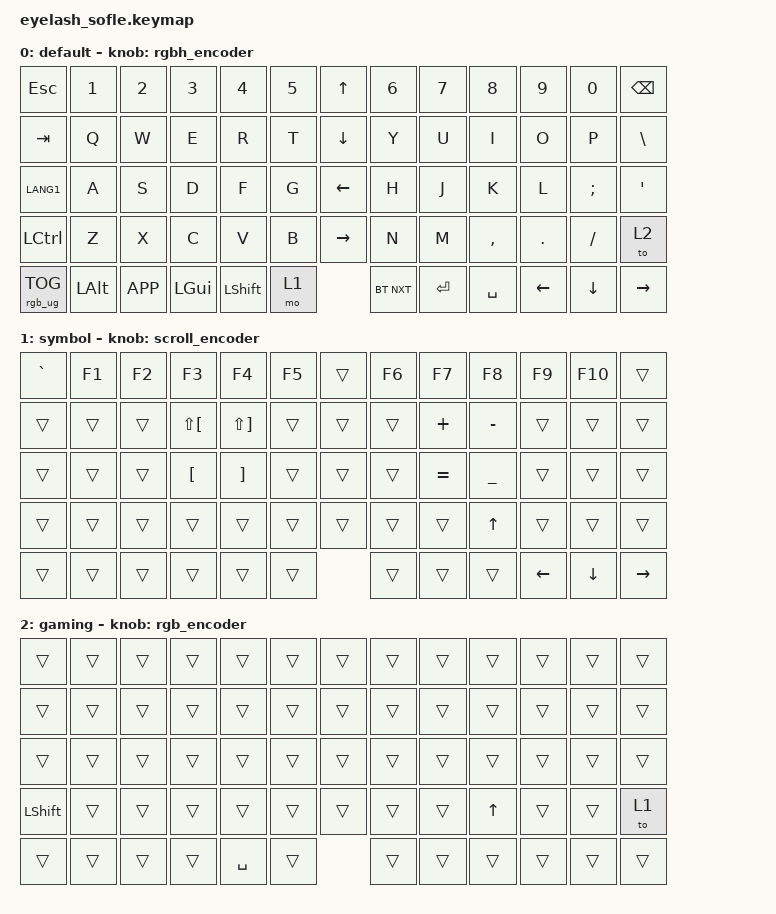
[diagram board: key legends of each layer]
#define ZMK_POINTING_DEFAULT_MOVE_VAL 1200  // 600
#define ZMK_POINTING_DEFAULT_SCRL_VAL 25   // 10

#include <input/processors.dtsi>
#include <zephyr/dt-bindings/input/input-event-codes.h>
#include <behaviors.dtsi>
#include <dt-bindings/zmk/backlight.h>
#include <dt-bindings/zmk/bt.h>
#include <dt-bindings/zmk/keys.h>
#include <dt-bindings/zmk/outputs.h>
#include <dt-bindings/zmk/pointing.h>
#include <dt-bindings/zmk/rgb.h>

&mmv_input_listener { input-processors = <&zip_xy_scaler 2 1>; };

&msc_input_listener { input-processors = <&zip_scroll_scaler 2 1>; };

&msc {
    acceleration-exponent = <1>;      // 0
    time-to-max-speed-ms = <100>;       // 300
    delay-ms = <0>;                   // 0
};

&mmv {
    time-to-max-speed-ms = <500>;
    acceleration-exponent = <1>;
    trigger-period-ms = <16>;
};

&soft_off { hold-time-ms = <2000>; };

/ {
    scroll_encoder: scroll_encoder {
        compatible = "zmk,behavior-sensor-rotate";
        #sensor-binding-cells = <0>;
        bindings = <&msc SCRL_DOWN>, <&msc SCRL_UP>;

        tap-ms = <100>;
    };

    behaviors {
    };

    combos {
        compatible = "zmk,combos";

        softoff {
            bindings = <&soft_off>;
            key-positions = <14 28 40>;
        };
    };

    macros {
        SHIFT_MCLK: SHIFT_MCLK {
            compatible = "zmk,behavior-macro";
            #binding-cells = <0>;
            bindings =
                <&macro_press>,
                <&kp LEFT_SHIFT>,
                <&macro_press>,
                <&mkp MB3>,
                <&macro_pause_for_release>,
                <&macro_release>,
                <&kp LEFT_SHIFT &mkp MB3>;

            label = "SHIFT_MCLK";
        };
    };


        rgb_encoder: rgb_encoder {
            compatible = "zmk,behavior-sensor-rotate";
            #sensor-binding-cells = <0>;
            bindings = <&rgb_ug RGB_BRI>, <&rgb_ug RGB_BRD>;
        };

        rgbh_encoder: rgbh_encoder {
            compatible = "zmk,behavior-sensor-rotate";
            #sensor-binding-cells = <0>;
            bindings = <&rgb_ug RGB_HUD>, <&rgb_ug RGB_HUI>;
        };
    keymap {
        compatible = "zmk,keymap";

        layer0 {
            bindings = <
&kp ESC     &kp N1     &kp N2        &kp N3        &kp N4  &kp N5       &kp UP_ARROW     &kp N6     &kp N7     &kp N8     &kp N9           &kp N0      &kp BACKSPACE
&kp TAB     &kp Q      &kp W         &kp E         &kp R   &kp T        &kp DOWN_ARROW   &kp Y      &kp U      &kp I      &kp O            &kp P       &kp BSLH
&kp LANG1    &kp A      &kp S         &kp D         &kp F   &kp G        &kp LEFT_ARROW   &kp H      &kp J      &kp K      &kp L            &kp SEMI    &kp APOS
&kp LCTRL   &kp Z      &kp X         &kp C         &kp V   &kp B        &kp RIGHT_ARROW  &kp N      &kp M      &kp COMMA  &kp DOT          &kp FSLH    &to 2
&rgb_ug RGB_TOG  &kp LEFT_ALT  &kp K_APP  &kp LEFT_GUI  &kp LSHIFT   &mo 1    &bt BT_NXT        &kp ENTER  &kp SPACE  &kp LEFT_ARROW      &kp DOWN_ARROW  &kp RIGHT_ARROW
            >;

            sensor-bindings = <&rgbh_encoder>;
            display-name = "default";
        };

        layer_1 {
            bindings = <
&kp GRAVE  &kp F1  &kp F2  &kp F3  &kp F4  &kp F5    &trans  &kp F6  &kp F7  &kp F8  &kp F9  &kp F10 &trans
&trans  &trans  &trans  &kp LS(LBKT)  &kp LS(RBKT)  &trans    &trans  &trans  &kp PLUS  &kp MINUS  &trans  &trans  &trans
&trans  &trans  &trans  &kp LBKT  &kp RBKT  &trans    &trans  &trans  &kp EQUAL  &kp UNDER  &trans  &trans  &trans
&trans  &trans  &trans  &trans  &trans  &trans    &trans  &trans  &trans  &kp UP_ARROW  &trans  &trans  &trans
&trans  &trans  &trans  &trans  &trans  &trans    &trans  &trans  &trans &kp LEFT_ARROW  &kp DOWN_ARROW  &kp RIGHT_ARROW 
>;

            display-name = "symbol";
            sensor-bindings = <&scroll_encoder>;
        };

        layer_2 {
            bindings = <
&trans  &trans  &trans  &trans  &trans  &trans    &trans  &trans  &trans  &trans  &trans  &trans  &trans
&trans  &trans  &trans  &trans  &trans  &trans    &trans  &trans  &trans  &trans  &trans  &trans  &trans
&trans  &trans  &trans  &trans  &trans  &trans    &trans  &trans  &trans  &trans  &trans  &trans  &trans
&kp LSHIFT  &trans  &trans  &trans  &trans  &trans    &trans  &trans  &trans  &kp UP_ARROW  &trans  &trans  &to 1
&trans  &trans  &trans  &trans  &kp SPACE  &trans    &trans  &trans  &trans  &trans  &trans  &trans            >;

            sensor-bindings = <&rgb_encoder>;
            display-name = "gaming";
        };
    };
};
